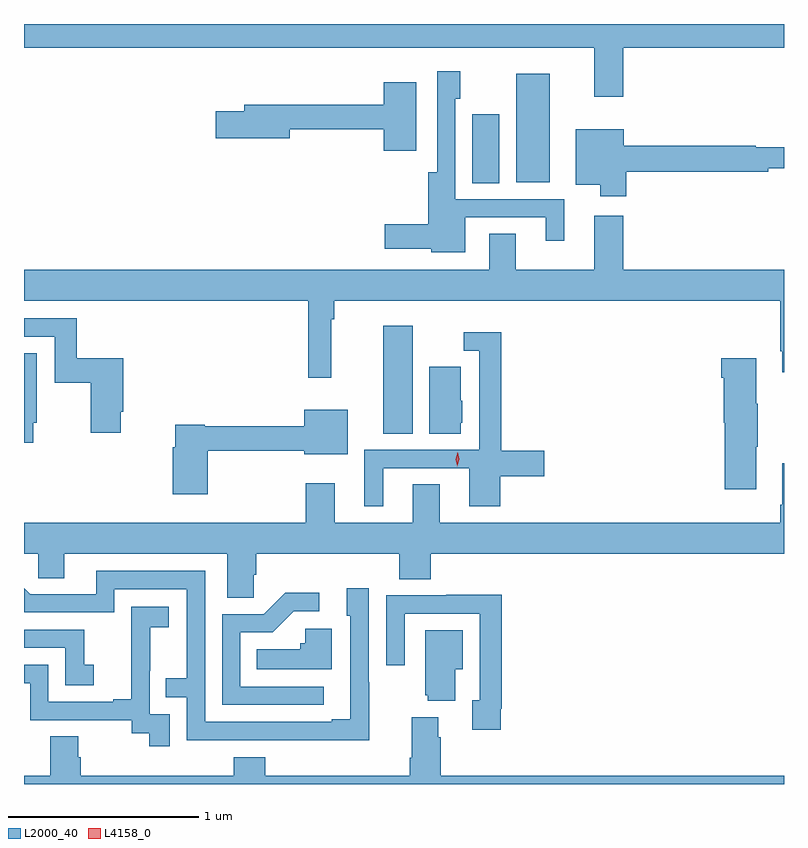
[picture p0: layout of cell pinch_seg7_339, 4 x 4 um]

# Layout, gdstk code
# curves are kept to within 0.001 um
import gdstk
lib = gdstk.Library(unit=1e-6, precision=1e-09)
def R(c, l, rs):  # rectangles x0, y0, x1, y1
    for r in rs: c.add(gdstk.rectangle(r[:2], r[2:], *l))
def P(c, l, *ps):  # polygons
    for p in ps: c.add(gdstk.Polygon(p, *l))
L2000_40 = (2000, 40)
L4158_0 = (4158, 0)

pinch_seg7_339 = lib.new_cell('pinch_seg7_339')
R(pinch_seg7_339, L2000_40, [(450.599,1006.576,450.754,1007.146), (451.067,1007.896,451.21,1008.259), (451.298,1007.9,451.474,1008.472)])
P(pinch_seg7_339, L2000_40, [(451.862,1008.608),(452.708,1008.608),(452.708,1008.733),(448.708,1008.733),(448.708,1008.608),(451.709,1008.608),(451.709,1008.351),(451.862,1008.351)],
  [(451.03,1007.715),(451.454,1007.715),(451.454,1007.592),(451.552,1007.592),(451.552,1007.811),(450.978,1007.811),(450.978,1008.339),(451.005,1008.339),(451.005,1008.484),(450.882,1008.484),(450.882,1007.953),(450.836,1007.953),(450.836,1007.679),(450.606,1007.679),(450.606,1007.549),(450.852,1007.549),(450.852,1007.531),(451.03,1007.531)],
  [(450.772,1008.427),(450.602,1008.427),(450.602,1008.307),(449.867,1008.307),(449.867,1008.273),(449.718,1008.273),(449.718,1008.131),(450.106,1008.131),(450.106,1008.178),(450.602,1008.178),(450.602,1008.066),(450.772,1008.066)],
  [(451.877,1007.956),(452.624,1007.956),(452.624,1007.975),(452.708,1007.975),(452.708,1008.085),(452.558,1008.085),(452.558,1008.092),(451.864,1008.092),(451.864,1008.178),(451.613,1008.178),(451.613,1007.888),(451.742,1007.888),(451.742,1007.826),(451.877,1007.826)],
  [(451.862,1007.725),(451.709,1007.725),(451.709,1007.44),(451.297,1007.44),(451.297,1007.63),(451.157,1007.63),(451.157,1007.44),(448.708,1007.44),(448.708,1007.276),(450.205,1007.276),(450.205,1006.872),(450.326,1006.872),(450.326,1007.18),(450.341,1007.18),(450.341,1007.276),(452.687,1007.276),(452.687,1007.011),(452.699,1007.011),(452.699,1006.899),(452.708,1006.899),(452.708,1007.44),(451.862,1007.44)],
  [(449.218,1006.693),(449.231,1006.693),(449.231,1006.975),(448.985,1006.975),(448.985,1007.184),(448.708,1007.184),(448.708,1007.088),(448.869,1007.088),(448.869,1006.846),(449.06,1006.846),(449.06,1006.581),(449.218,1006.581)],
  [(450.598,1006.395),(451.052,1006.395),(451.052,1006.194),(451.214,1006.194),(451.214,1006.352),(451.447,1006.352),(451.447,1006.487),(451.22,1006.487),(451.22,1007.11),(451.023,1007.11),(451.023,1007.013),(451.104,1007.013),(451.104,1006.491),(450.5,1006.491),(450.5,1006.194),(450.598,1006.194)],
  [(448.756,1006.635),(448.774,1006.635),(448.774,1006.999),(448.708,1006.999),(448.708,1006.529),(448.756,1006.529)],
  [(452.563,1006.507),(452.571,1006.507),(452.571,1006.735),(452.563,1006.735),(452.563,1006.975),(452.378,1006.975),(452.378,1006.871),(452.39,1006.871),(452.39,1006.635),(452.396,1006.635),(452.396,1006.284),(452.563,1006.284)],
  [(451.006,1006.635),(451.015,1006.635),(451.015,1006.749),(451.006,1006.749),(451.006,1006.93),(450.842,1006.93),(450.842,1006.576),(451.006,1006.576)],
  [(449.675,1006.488),(450.182,1006.488),(450.182,1006.469),(450.412,1006.469),(450.412,1006.702),(450.182,1006.702),(450.182,1006.616),(449.658,1006.616),(449.658,1006.624),(449.504,1006.624),(449.504,1006.505),(449.492,1006.505),(449.492,1006.257),(449.675,1006.257)],
  [(449.916,1005.835),(449.93,1005.835),(449.93,1005.944),(450.683,1005.944),(450.683,1005.811),(450.848,1005.811),(450.848,1005.944),(452.708,1005.944),(452.708,1006.42),(452.699,1006.42),(452.699,1006.204),(452.687,1006.204),(452.687,1006.108),(450.895,1006.108),(450.895,1006.31),(450.755,1006.31),(450.755,1006.108),(450.343,1006.108),(450.343,1006.315),(450.191,1006.315),(450.191,1006.108),(448.708,1006.108),(448.708,1005.944),(448.782,1005.944),(448.782,1005.817),(448.921,1005.817),(448.921,1005.944),(449.777,1005.944),(449.777,1005.712),(449.916,1005.712)],
  [(450.525,1005.269),(450.522,1005.269),(450.522,1005.763),(450.407,1005.763),(450.407,1005.618),(450.426,1005.618),(450.426,1005.073),(450.329,1005.073),(450.329,1005.06),(449.661,1005.06),(449.661,1005.855),(449.087,1005.855),(449.087,1005.732),(448.74,1005.732),(448.708,1005.764),(448.708,1005.636),(449.184,1005.636),(449.184,1005.759),(449.565,1005.759),(449.565,1005.29),(449.455,1005.29),(449.455,1005.189),(449.565,1005.189),(449.565,1004.964),(450.525,1004.963)],
  [(450.286,1005.246),(449.847,1005.246),(449.847,1005.531),(450.016,1005.531),(450.127,1005.642),(450.262,1005.642),(450.262,1005.74),(450.083,1005.74),(449.97,1005.627),(449.751,1005.627),(449.751,1005.15),(450.286,1005.15)],
  [(451.216,1005.13),(451.223,1005.13),(451.223,1005.728),(450.931,1005.728),(450.931,1005.726),(450.615,1005.726),(450.615,1005.357),(450.711,1005.357),(450.711,1005.63),(451.107,1005.63),(451.107,1005.174),(451.067,1005.174),(451.067,1005.018),(451.216,1005.018)],
  [(449.475,1005.099),(449.37,1005.099),(449.37,1005.329),(449.372,1005.329),(449.372,1005.557),(449.47,1005.557),(449.47,1005.667),(449.272,1005.667),(449.272,1005.461),(449.273,1005.461),(449.273,1005.178),(449.177,1005.178),(449.177,1005.165),(448.836,1005.165),(448.836,1005.36),(448.708,1005.36),(448.708,1005.264),(448.74,1005.264),(448.74,1005.069),(449.274,1005.069),(449.274,1005.001),(449.367,1005.001),(449.367,1004.931),(449.475,1004.931)],
  [(450.328,1005.55),(450.189,1005.55),(450.189,1005.474),(450.163,1005.474),(450.163,1005.442),(449.932,1005.442),(449.932,1005.338),(450.328,1005.338)],
  [(449.074,1005.361),(449.025,1005.361),(449.025,1005.546),(448.708,1005.546),(448.708,1005.45),(448.926,1005.45),(448.926,1005.252),(449.074,1005.252)],
  [(450.979,1005.338),(451.018,1005.338),(451.018,1005.541),(450.821,1005.541),(450.821,1005.201),(450.833,1005.201),(450.833,1005.17),(450.979,1005.17)],
  [(452.708,1004.776),(450.902,1004.776),(450.902,1004.978),(450.889,1004.978),(450.889,1005.085),(450.749,1005.085),(450.749,1004.872),(450.737,1004.872),(450.737,1004.776),(449.978,1004.776),(449.978,1004.875),(449.813,1004.875),(449.813,1004.776),(449.006,1004.776),(449.006,1004.874),(448.993,1004.874),(448.993,1004.984),(448.846,1004.984),(448.846,1004.776),(448.708,1004.776),(448.708,1004.733),(452.708,1004.733)])
P(pinch_seg7_339, L4158_0, [(450.989,1006.406),(450.989,1006.407),(450.98,1006.443),(450.992,1006.479),(450.992,1006.479),(450.992,1006.479),(451,1006.442),(450.989,1006.407)])

lib.write_gds('pinch_seg7_339.gds')
